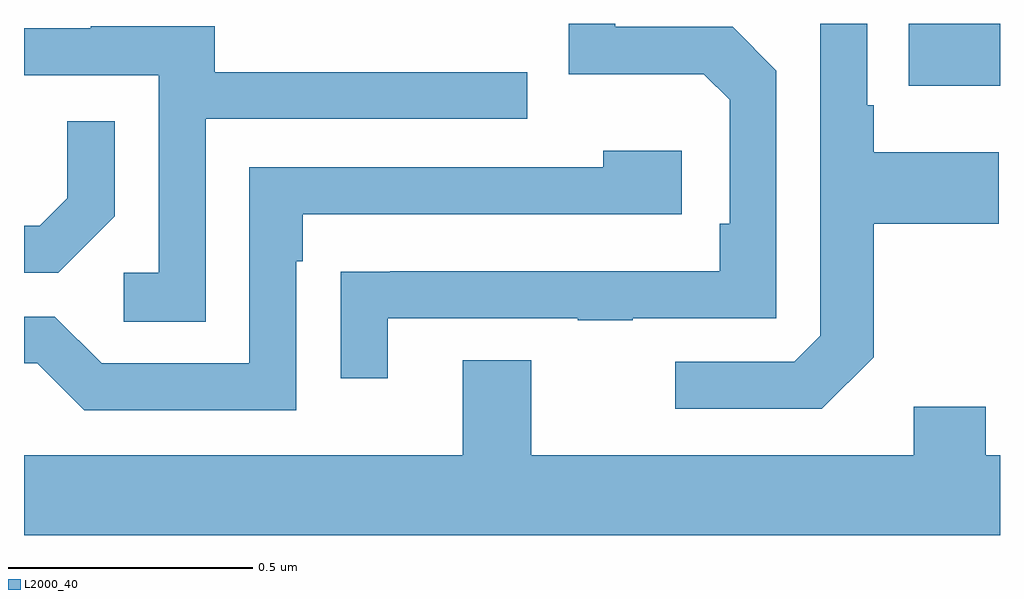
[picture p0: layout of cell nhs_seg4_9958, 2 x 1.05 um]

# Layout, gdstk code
import gdstk
lib = gdstk.Library(unit=1e-6, precision=1e-09)
def R(c, l, rs):  # rectangles x0, y0, x1, y1
    for r in rs: c.add(gdstk.rectangle(r[:2], r[2:], *l))
def P(c, l, *ps):  # polygons
    for p in ps: c.add(gdstk.Polygon(p, *l))
L2000_40 = (2000, 40)

nhs_seg4_9958 = lib.new_cell('nhs_seg4_9958')
R(nhs_seg4_9958, L2000_40, [(235.813,765.773,236,765.9)])
P(nhs_seg4_9958, L2000_40, [(234.745,765.297),(235.135,765.297),(235.135,765.292),(235.247,765.292),(235.247,765.297),(235.542,765.297),(235.542,765.804),(235.452,765.894),(235.212,765.894),(235.212,765.9),(235.116,765.9),(235.116,765.797),(235.393,765.797),(235.446,765.744),(235.446,765.49),(235.426,765.49),(235.426,765.393),(234.751,765.393),(234.751,765.392),(234.649,765.392),(234.649,765.174),(234.745,765.174)],
  [(235.741,765.217),(235.741,765.49),(235.997,765.49),(235.997,765.637),(235.741,765.637),(235.741,765.733),(235.728,765.733),(235.728,765.9),(235.632,765.9),(235.632,765.261),(235.578,765.207),(235.335,765.207),(235.335,765.111),(235.635,765.111)],
  [(234.372,765.705),(235.031,765.705),(235.031,765.801),(234.391,765.801),(234.391,765.895),(234.137,765.895),(234.137,765.891),(234,765.891),(234,765.795),(234.276,765.795),(234.276,765.39),(234.204,765.39),(234.204,765.289),(234.372,765.289)],
  [(234.186,765.506),(234.186,765.7),(234.089,765.7),(234.089,765.543),(234.032,765.486),(234,765.486),(234,765.39),(234.07,765.39)],
  [(234.558,765.413),(234.571,765.413),(234.571,765.51),(235.348,765.51),(235.348,765.64),(235.187,765.64),(235.187,765.606),(234.462,765.606),(234.462,765.204),(234.159,765.204),(234.063,765.3),(234,765.3),(234,765.204),(234.027,765.204),(234.123,765.108),(234.558,765.108)],
  [(236,765.016),(235.971,765.016),(235.971,765.115),(235.823,765.115),(235.823,765.016),(235.039,765.016),(235.039,765.211),(234.899,765.211),(234.899,765.016),(234,765.016),(234,764.852),(236,764.852)])

lib.write_gds('nhs_seg4_9958.gds')
